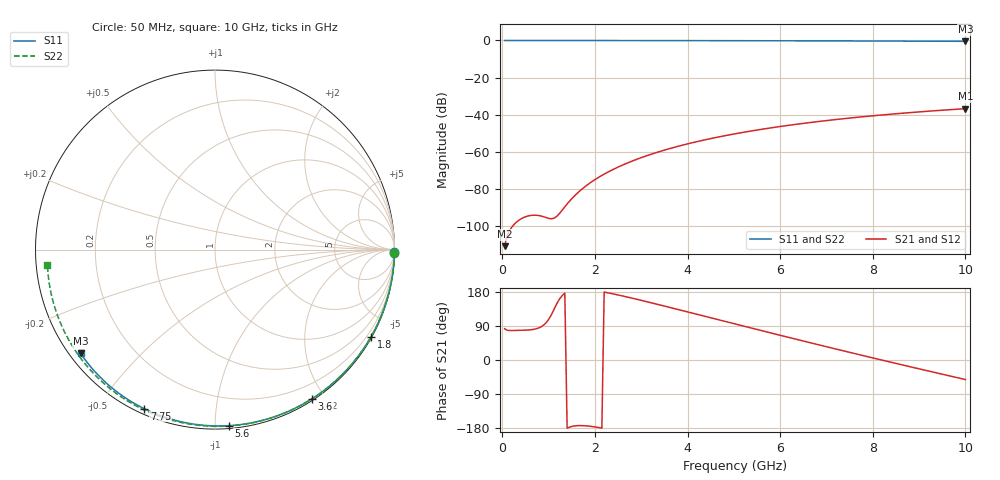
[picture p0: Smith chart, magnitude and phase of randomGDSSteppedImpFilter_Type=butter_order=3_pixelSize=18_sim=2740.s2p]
! freq	dB(S11)	phase(S11)	dB(S12)	phase(S12)
!  dB(S21)	phase(S21)	dB(S22)	phase(S22)
!S-par simulation data
#  GHz  S  DB  R 50
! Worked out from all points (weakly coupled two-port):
!   200 points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, 50 MHz to 10 GHz, reference 50 ohm
!   highest |S21| = -36.80 dB at 10 GHz (marker M1); lowest = -111.0 dB at 50 MHz (marker M2)
!   lowest |S11| = -0.5 dB at 10 GHz (marker M3), VSWR 36.19, Z = 1.54 - j17 ohm
!   |S11| at or under -10 dB: nowhere
!   |S22| runs from -0.6 to 0.0 dB; largest |S21 - S12| = 0
!   S11 on the Smith chart (normalised r, x): 50 MHz: open; 1.8 GHz: 0.03, -3.84; 3.6 GHz: 0.02, -1.84; 5.6 GHz: 0.02, -1.08; 7.75 GHz: 0.02, -0.65; 10 GHz: 0.03, -0.34
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0.05  -0.00 -0.8  -110.95 82.5  -110.95 82.5  -0.00 -1.0
0.45  -0.01 -7.4  -95.63 78.4  -95.63 78.4  -0.01 -9.1
0.85  -0.02 -13.9  -94.77 88.5  -94.77 88.5  -0.02 -17.1
1.25  -0.03 -20.4  -92.87 163.5  -92.87 163.5  -0.03 -25.1
1.7  -0.03 -27.6  -80.59 -173.1  -80.59 -173.1  -0.04 -33.9
1.75  -0.04 -28.4  -79.56 -173.3  -79.56 -173.3  -0.04 -34.9
1.8  -0.04 -29.2  -78.58 -173.7  -78.58 -173.7  -0.05 -35.8
2.1  -0.04 -33.9  -73.53 -178.6  -73.53 -178.6  -0.05 -41.6
2.3  -0.05 -37.0  -70.75 176.8  -70.75 176.8  -0.06 -45.4
2.5  -0.05 -40.2  -68.30 171.6  -68.30 171.6  -0.06 -49.2
2.9  -0.06 -46.3  -64.13 160.4  -64.13 160.4  -0.07 -56.7
3.4  -0.07 -53.9  -59.89 145.4  -59.89 145.4  -0.09 -65.9
3.6  -0.08 -56.9  -58.42 139.3  -58.42 139.3  -0.09 -69.5
4.3  -0.09 -67.2  -54.01 117.7  -54.01 117.7  -0.12 -81.8
5.05  -0.12 -77.9  -50.23 94.4  -50.23 94.4  -0.14 -94.6
5.6  -0.14 -85.6  -47.91 77.5  -47.91 77.5  -0.17 -103.7
6.15  -0.17 -93.1  -45.88 60.6  -45.88 60.6  -0.20 -112.6
6.7  -0.19 -100.4  -44.10 44.0  -44.10 44.0  -0.23 -121.4
7.75  -0.26 -114.0  -41.23 12.8  -41.23 12.8  -0.32 -138.0
8.35  -0.31 -121.6  -39.85 -4.7  -39.85 -4.7  -0.37 -147.5
9.2  -0.39 -132.3  -38.15 -29.0  -38.15 -29.0  -0.46 -161.2
10  -0.48 -142.4  -36.80 -51.5  -36.80 -51.5  -0.56 -174.8
